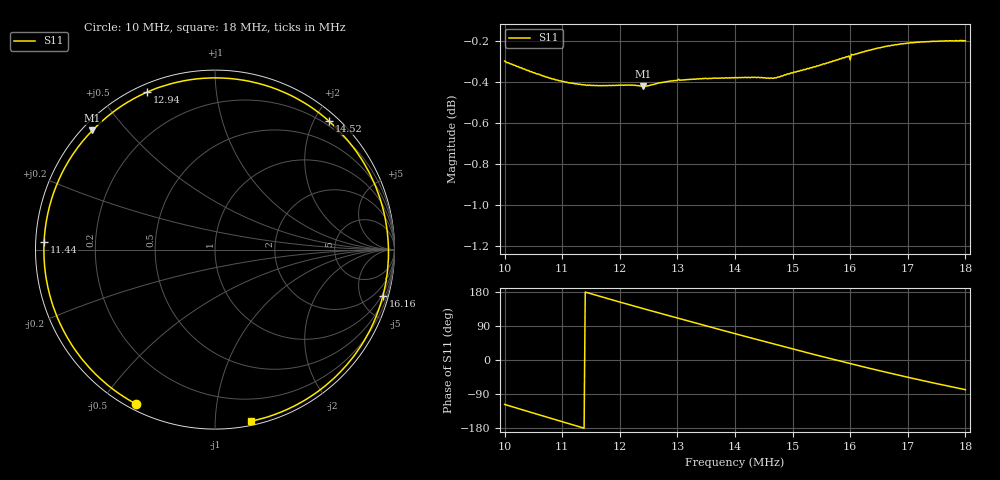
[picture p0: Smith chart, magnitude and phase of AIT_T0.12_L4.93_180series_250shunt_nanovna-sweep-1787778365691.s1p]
! NanoVNA Web complex sweep
! Processing: original sample grid, no browser smoothing
# Hz S RI R 50
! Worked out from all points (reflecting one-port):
!   401 points, 10 MHz to 18 MHz, reference 50 ohm
!   lowest |S11| = -0.4 dB at 12.4 MHz (marker M1), VSWR 41.18, Z = 1.41 + j20.3 ohm
!   phase of S11 starts at -117 deg and turns -321 deg over the sweep
!   S11 on the Smith chart (normalised r, x): 10 MHz: 0.02, -0.61; 11.44 MHz: 0.02, +0.02; 12.94 MHz: 0.03, +0.66; 14.52 MHz: 0.13, +2.22; 16.16 MHz: 0.81, -7.26; 18 MHz: 0.03, -1.23
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1e7  -0.4425 -0.8588
1.024e7  -0.5962 -0.7564
1.054e7  -0.7555 -0.5914
1.078e7  -0.8515 -0.4366
1.1e7  -0.9124 -0.2823
1.122e7  -0.9461 -0.1212
1.144e7  -0.9524 0.0416
1.172e7  -0.9211 0.2443
1.2e7  -0.8489 0.4335
1.24e7  -0.6832 0.6638
1.268e7  -0.5349 0.7903
1.294e7  -0.3765 0.8783
1.3e7  -0.3379 0.894
1.326e7  -0.1646 0.942
1.35e7  -2.7e-05 0.9568
1.374e7  0.1639 0.9428
1.4e7  0.3349 0.8968
1.426e7  0.494 0.8198
1.452e7  0.6355 0.7157
1.5e7  0.8371 0.4693
1.55e7  0.9506 0.1604
1.574e7  0.9664 0.00568
1.6e7  0.9532 -0.1615
1.616e7  0.9353 -0.2593
1.656e7  0.8425 -0.4879
1.7e7  0.6836 -0.6964
1.75e7  0.4536 -0.8653
1.8e7  0.198 -0.9569
